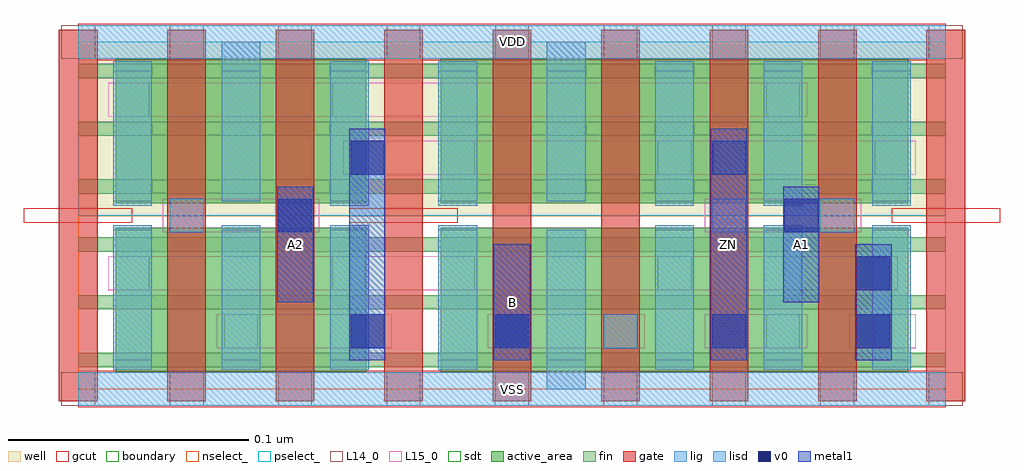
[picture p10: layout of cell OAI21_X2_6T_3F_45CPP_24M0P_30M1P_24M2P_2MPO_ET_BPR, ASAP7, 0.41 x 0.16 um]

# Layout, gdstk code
import gdstk
lib = gdstk.Library(unit=1e-6, precision=2.5e-10)
def R(c, l, rs):  # rectangles x0, y0, x1, y1
    for r in rs: c.add(gdstk.rectangle(r[:2], r[2:], *l))
def A(c, l, x, y, w, h, nx, ny, dx, dy):  # array of equal rectangles
    R(c, l, [(x+i*dx, y+j*dy, x+i*dx+w, y+j*dy+h) for i in range(nx) for j in range(ny)])
well = (1, 0)
fin = (2, 0)
gate = (7, 0)
gcut = (10, 0)
active_area = (11, 0)
nselect_ = (12, 0)
pselect_ = (13, 0)
L14_0 = (14, 0)
L15_0 = (15, 0)
lig = (16, 0)
lisd = (17, 0)
v0 = (18, 0)
metal1 = (19, 0)
sdt = (88, 0)
boundary = (100, 0)

oai21_x2_6t_3f_45cpp_24m = lib.new_cell('OAI21_X2_6T_3F_45CPP_24M0P_30M1P_24M2P_2MPO_ET_BPR')
R(oai21_x2_6t_3f_45cpp_24m, well, [(0,0.072,0.36,0.144)])
A(oai21_x2_6t_3f_45cpp_24m, fin, 0, 0.009, 0.36, 0.006, 1, 6, 0, 0.024)
A(oai21_x2_6t_3f_45cpp_24m, gate, -0.008, -0.005, 0.016, 0.154, 9, 1, 0.045, 0)
R(oai21_x2_6t_3f_45cpp_24m, gcut, [(0,-0.0075,0.36,0.0075), (-0.0225,0.069,0.0225,0.075), (0.1125,0.069,0.1575,0.075), (0.3375,0.069,0.3825,0.075), (0,0.1365,0.36,0.1515)])
R(oai21_x2_6t_3f_45cpp_24m, active_area, [(0.0155,0.007,0.1195,0.067), (0.1505,0.007,0.2545,0.067), (0.2405,0.007,0.3445,0.067), (0.0155,0.077,0.1195,0.137), (0.1505,0.077,0.2545,0.137), (0.2405,0.077,0.3445,0.137)])
R(oai21_x2_6t_3f_45cpp_24m, nselect_, [(0,0,0.36,0.072)])
R(oai21_x2_6t_3f_45cpp_24m, pselect_, [(0,0.072,0.36,0.144)])
A(oai21_x2_6t_3f_45cpp_24m, L14_0, -0.007, -0.007, 0.014, 0.014, 9, 2, 0.045, 0.144)
A(oai21_x2_6t_3f_45cpp_24m, L14_0, 0.1505, 0.089, 0.014, 0.014, 3, 1, 0.09, 0)
R(oai21_x2_6t_3f_45cpp_24m, L14_0, [(0.0605,0.017,0.0745,0.031), (0.173,0.017,0.187,0.031), (0.218,0.017,0.232,0.031), (0.2855,0.017,0.2995,0.031), (0.3305,0.017,0.3445,0.031), (0.0155,0.041,0.0295,0.055), (0.1055,0.041,0.1195,0.055), (0.1505,0.041,0.1645,0.055), (0.2405,0.041,0.2545,0.055), (0.038,0.065,0.052,0.079), (0.083,0.065,0.097,0.079), (0.263,0.065,0.277,0.079), (0.308,0.065,0.322,0.079), (0.0155,0.113,0.0295,0.127), (0.1055,0.113,0.1195,0.127), (0.2855,0.113,0.2995,0.127)])
R(oai21_x2_6t_3f_45cpp_24m, L15_0, [(0,-0.007,0.36,0.007), (0.0575,0.017,0.13,0.031), (0.17,0.017,0.235,0.031), (0.26,0.017,0.3025,0.031), (0.32,0.017,0.3475,0.031), (0.0125,0.041,0.34,0.055), (0.035,0.065,0.1,0.079), (0.26,0.065,0.325,0.079), (0.11,0.089,0.3475,0.103), (0.0125,0.113,0.3025,0.127), (0,0.137,0.36,0.151)])
R(oai21_x2_6t_3f_45cpp_24m, lig, [(0,-0.007,0.36,0.007), (0.173,0.017,0.187,0.031), (0.218,0.017,0.232,0.031), (0.038,0.065,0.052,0.079), (0.083,0.065,0.097,0.079), (0.263,0.065,0.277,0.079), (0.308,0.065,0.322,0.079), (0,0.137,0.36,0.151)])
A(oai21_x2_6t_3f_45cpp_24m, lisd, 0.0145, 0.008, 0.016, 0.06, 4, 1, 0.045, 0)
A(oai21_x2_6t_3f_45cpp_24m, lisd, 0.2395, 0.008, 0.016, 0.06, 3, 2, 0.045, 0.068)
R(oai21_x2_6t_3f_45cpp_24m, lisd, [(0.1945,0,0.2105,0.066), (0.0145,0.076,0.0305,0.136), (0.1045,0.076,0.1205,0.136), (0.1495,0.076,0.1655,0.136), (0.0595,0.078,0.0755,0.144), (0.1945,0.078,0.2105,0.144)])
R(oai21_x2_6t_3f_45cpp_24m, v0, [(0.113,0.017,0.127,0.031), (0.173,0.017,0.187,0.031), (0.263,0.017,0.277,0.031), (0.323,0.017,0.337,0.031), (0.323,0.041,0.337,0.055), (0.083,0.065,0.097,0.079), (0.293,0.065,0.307,0.079), (0.113,0.089,0.127,0.103), (0.263,0.089,0.277,0.103)])
R(oai21_x2_6t_3f_45cpp_24m, metal1, [(0.1125,0.012,0.1275,0.108), (0.1725,0.012,0.1875,0.06), (0.2625,0.012,0.2775,0.108), (0.3225,0.012,0.3375,0.06), (0.0825,0.036,0.0975,0.084), (0.2925,0.036,0.3075,0.084)])
A(oai21_x2_6t_3f_45cpp_24m, sdt, 0.0145, 0.012, 0.016, 0.054, 8, 2, 0.045, 0.066)
R(oai21_x2_6t_3f_45cpp_24m, boundary, [(0,0,0.36,0.144)])
oai21_x2_6t_3f_45cpp_24m.add(gdstk.Label('A2', (0.09,0.06), layer=19, texttype=251))
oai21_x2_6t_3f_45cpp_24m.add(gdstk.Label('A1', (0.3,0.06), layer=19, texttype=251))
oai21_x2_6t_3f_45cpp_24m.add(gdstk.Label('ZN', (0.27,0.06), layer=19, texttype=251))
oai21_x2_6t_3f_45cpp_24m.add(gdstk.Label('B', (0.18,0.036), layer=19, texttype=251))
oai21_x2_6t_3f_45cpp_24m.add(gdstk.Label('VDD', (0.18,0.144), layer=15, texttype=251))
oai21_x2_6t_3f_45cpp_24m.add(gdstk.Label('VSS', (0.18,0), layer=15, texttype=251))
oai21_x2_6t_3f_45cpp_24m.add(gdstk.Label('VDD', (0.18,0.144), layer=1, texttype=251))
oai21_x2_6t_3f_45cpp_24m.add(gdstk.Label('VSS', (0.18,0), layer=3, texttype=251))

lib.write_gds('OAI21_X2_6T_3F_45CPP_24M0P_30M1P_24M2P_2MPO_ET_BPR.gds')
